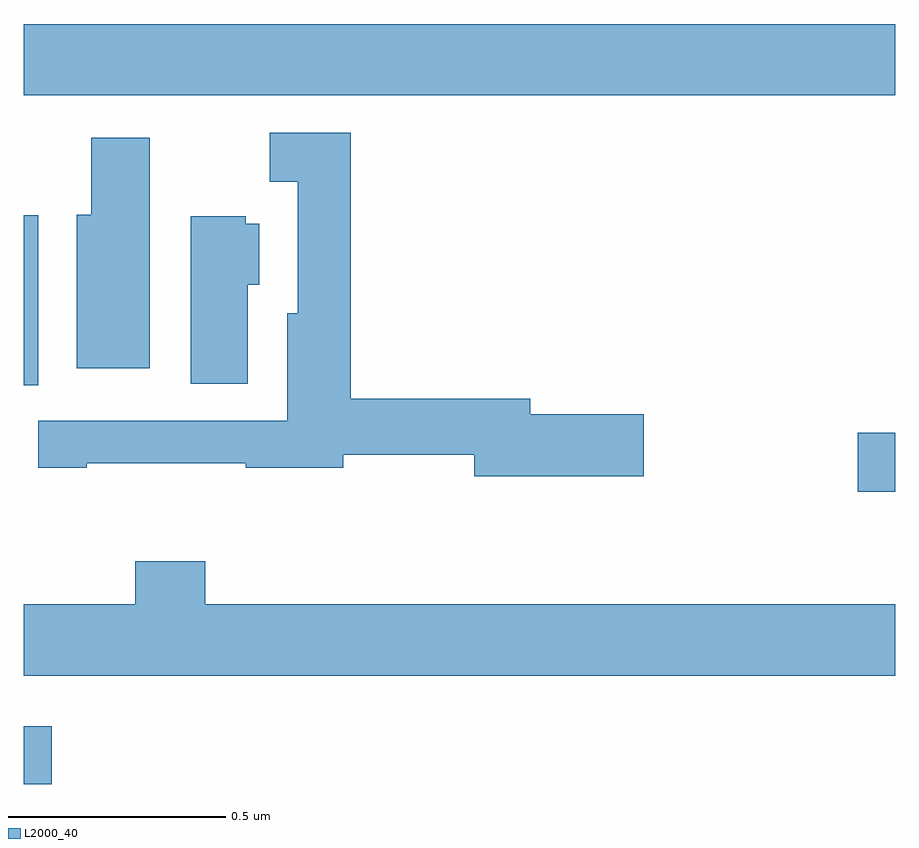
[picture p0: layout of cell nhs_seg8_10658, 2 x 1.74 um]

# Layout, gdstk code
import gdstk
lib = gdstk.Library(unit=1e-6, precision=1e-09)
def R(c, l, rs):  # rectangles x0, y0, x1, y1
    for r in rs: c.add(gdstk.rectangle(r[:2], r[2:], *l))
def P(c, l, *ps):  # polygons
    for p in ps: c.add(gdstk.Polygon(p, *l))
L2000_40 = (2000, 40)

nhs_seg8_10658 = lib.new_cell('nhs_seg8_10658')
R(nhs_seg8_10658, L2000_40, [(252,1134.9,252.064,1135.033), (253.914,1135.571,254,1135.706), (252,1135.815,252.033,1136.205), (252,1136.48,254,1136.644)])
P(nhs_seg8_10658, L2000_40, [(253.423,1135.748),(253.162,1135.748),(253.162,1135.784),(252.751,1135.784),(252.751,1136.395),(252.564,1136.395),(252.564,1136.282),(252.629,1136.282),(252.629,1135.98),(252.605,1135.98),(252.605,1135.734),(252.033,1135.734),(252.033,1135.626),(252.145,1135.626),(252.145,1135.636),(252.509,1135.636),(252.509,1135.626),(252.733,1135.626),(252.733,1135.656),(253.034,1135.656),(253.034,1135.606),(253.423,1135.606)],
  [(252.289,1136.383),(252.155,1136.383),(252.155,1136.206),(252.122,1136.206),(252.122,1135.854),(252.289,1135.854)],
  [(252.514,1136.046),(252.541,1136.046),(252.541,1136.186),(252.51,1136.186),(252.51,1136.203),(252.383,1136.203),(252.383,1135.819),(252.514,1135.819)],
  [(254,1135.312),(252.416,1135.312),(252.416,1135.411),(252.256,1135.411),(252.256,1135.312),(252,1135.312),(252,1135.148),(254,1135.148)])

lib.write_gds('nhs_seg8_10658.gds')
